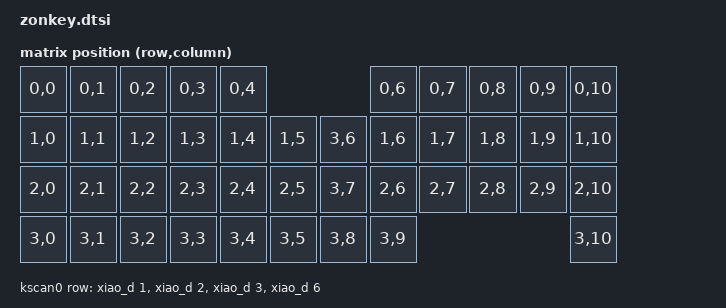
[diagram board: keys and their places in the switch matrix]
#include <dt-bindings/zmk/matrix_transform.h>
#include <dt-bindings/zmk/pointing.h>
#include <dt-bindings/zmk/input_transform.h>
/* ↓ ファイルパスを Zephyr 本体のものに修正しました */
#include <zephyr/dt-bindings/input/input-event-codes.h>
/ {
    /* 1. 入力プロセッサの定義 */
    zip_xy_scaler: zip_xy_scaler {
        compatible = "zmk,input-processor-scaler";
        #input-processor-cells = <2>;
        type = <INPUT_EV_REL>;
        codes = <INPUT_REL_X INPUT_REL_Y>;
    };

    zip_xy_to_scroll_mapper: zip_xy_to_scroll_mapper {
        compatible = "zmk,input-processor-code-mapper";
        #input-processor-cells = <0>;
        type = <INPUT_EV_REL>;
        map = <INPUT_REL_X INPUT_REL_HWHEEL>, <INPUT_REL_Y INPUT_REL_WHEEL>;
    };

    zip_scroll_scaler: zip_scroll_scaler {
        compatible = "zmk,input-processor-scaler";
        #input-processor-cells = <2>;
        type = <INPUT_EV_REL>;
        codes = <INPUT_REL_WHEEL INPUT_REL_HWHEEL>;
    };

    zip_scroll_transform: zip_scroll_transform {
        compatible = "zmk,input-processor-transform";
        #input-processor-cells = <1>;
        type = <INPUT_EV_REL>;
        codes = <INPUT_REL_WHEEL INPUT_REL_HWHEEL>;
    };

    /* 2. リスナーとスプリット設定 */
    split_inputs {
        #address-cells = <1>;
        #size-cells = <0>;
        glidepoint_split: glidepoint_split@0 {
            compatible = "zmk,input-split";
            reg = <0>;
        };
    };

    glidepoint_listener: glidepoint_listener {
        compatible = "zmk,input-listener";
        status = "disabled"; 
        device = <&glidepoint_split>;
        input-processors = <&zip_xy_scaler 250 100>;
        scroller {
            layers = <1 2>;
            input-processors = <
                &zip_xy_to_scroll_mapper
                &zip_scroll_scaler 1 5
                &zip_scroll_transform (INPUT_TRANSFORM_X_INVERT)
            >;
        };
    };

    /* 3. ボードの基本設定 */
    chosen {
        zmk,kscan = &kscan0;
        zmk,matrix_transform = &default_transform;
    };

    default_transform: keymap_transform_0 {
        compatible = "zmk,matrix-transform";
        columns = <11>;
        rows = <4>;                
        map = <
            RC(0,0) RC(0,1) RC(0,2) RC(0,3) RC(0,4)                     RC(0,6) RC(0,7) RC(0,8) RC(0,9) RC(0,10)
            RC(1,0) RC(1,1) RC(1,2) RC(1,3) RC(1,4) RC(1,5)     RC(3,6) RC(1,6) RC(1,7) RC(1,8) RC(1,9) RC(1,10)
            RC(2,0) RC(2,1) RC(2,2) RC(2,3) RC(2,4) RC(2,5)     RC(3,7) RC(2,6) RC(2,7) RC(2,8) RC(2,9) RC(2,10)
            RC(3,0) RC(3,1) RC(3,2) RC(3,3) RC(3,4) RC(3,5)     RC(3,8) RC(3,9)                         RC(3,10)          
        >;
    };
    
    kscan0: kscan {
        compatible = "zmk,kscan-gpio-matrix";
        diode-direction = "col2row";
        row-gpios
            = <&xiao_d 1 (GPIO_ACTIVE_HIGH | GPIO_PULL_DOWN)> 
            , <&xiao_d 2 (GPIO_ACTIVE_HIGH | GPIO_PULL_DOWN)> 
            , <&xiao_d 3 (GPIO_ACTIVE_HIGH | GPIO_PULL_DOWN)> 
            , <&xiao_d 6 (GPIO_ACTIVE_HIGH | GPIO_PULL_DOWN)>              
            ;
    };
};
